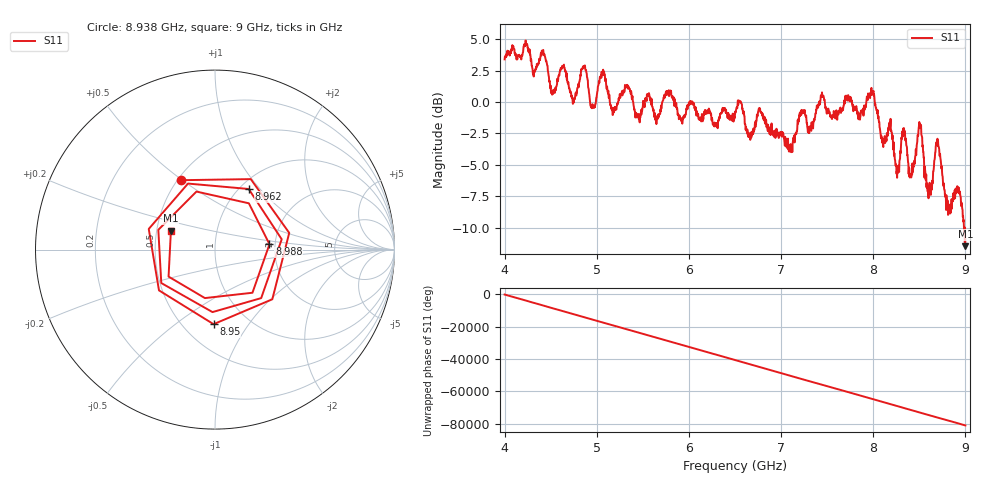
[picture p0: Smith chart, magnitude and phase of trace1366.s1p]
! Created with skrf 1.8.0 (http://scikit-rf.org).
# Hz S RI R 50.0
!freq ReS11 ImS11
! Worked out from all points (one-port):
!   1601 points, 4 GHz to 9 GHz, reference 50 ohm
!   lowest |S11| = -11.5 dB at 9 GHz (marker M1), VSWR 1.73, Z = 29.7 + j6.71 ohm
!   |S11| at or under -10 dB: 8.984917 GHz to 8.990529 GHz (5.612 MHz wide, 0.0624 % of centre); 8.99114 GHz to end of sweep
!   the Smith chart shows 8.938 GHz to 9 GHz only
!   S11 on the Smith chart (normalised r, x): 8.938 GHz: 0.52, +0.49; 8.95 GHz: 0.70, -0.70; 8.962 GHz: 1.10, +0.87; 8.988 GHz: 1.87, +0.12; 9 GHz: 0.59, +0.13
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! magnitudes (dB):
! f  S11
! 4 GHz  3.4
! 4.416 GHz  4.1
! 4.522 GHz  0.7
! 4.625 GHz  2.9
! 4.741 GHz  -0.1
! 4.856 GHz  2.8
! 4.953 GHz  -0.2
! 5.062 GHz  2.3
! 5.25 GHz  0.6
! 5.875 GHz  -0.7
! 6.5 GHz  -1.0
! 7.125 GHz  -3.3
! 7.222 GHz  -0.6
! 7.75 GHz  0.4
! 7.988 GHz  0.6
! 8.256 GHz  -5.5
! 8.331 GHz  -2.3
! 8.375 GHz  -4.5
! 8.416 GHz  -5.9
! 8.506 GHz  -2.0
! 8.603 GHz  -6.7
! 8.697 GHz  -2.9
! 8.816 GHz  -8.9
! 8.938 GHz  -7.3
! 8.95 GHz  -7.6
! 8.962 GHz  -8.3
! 8.988 GHz  -10.3
! 9 GHz  -11.5
